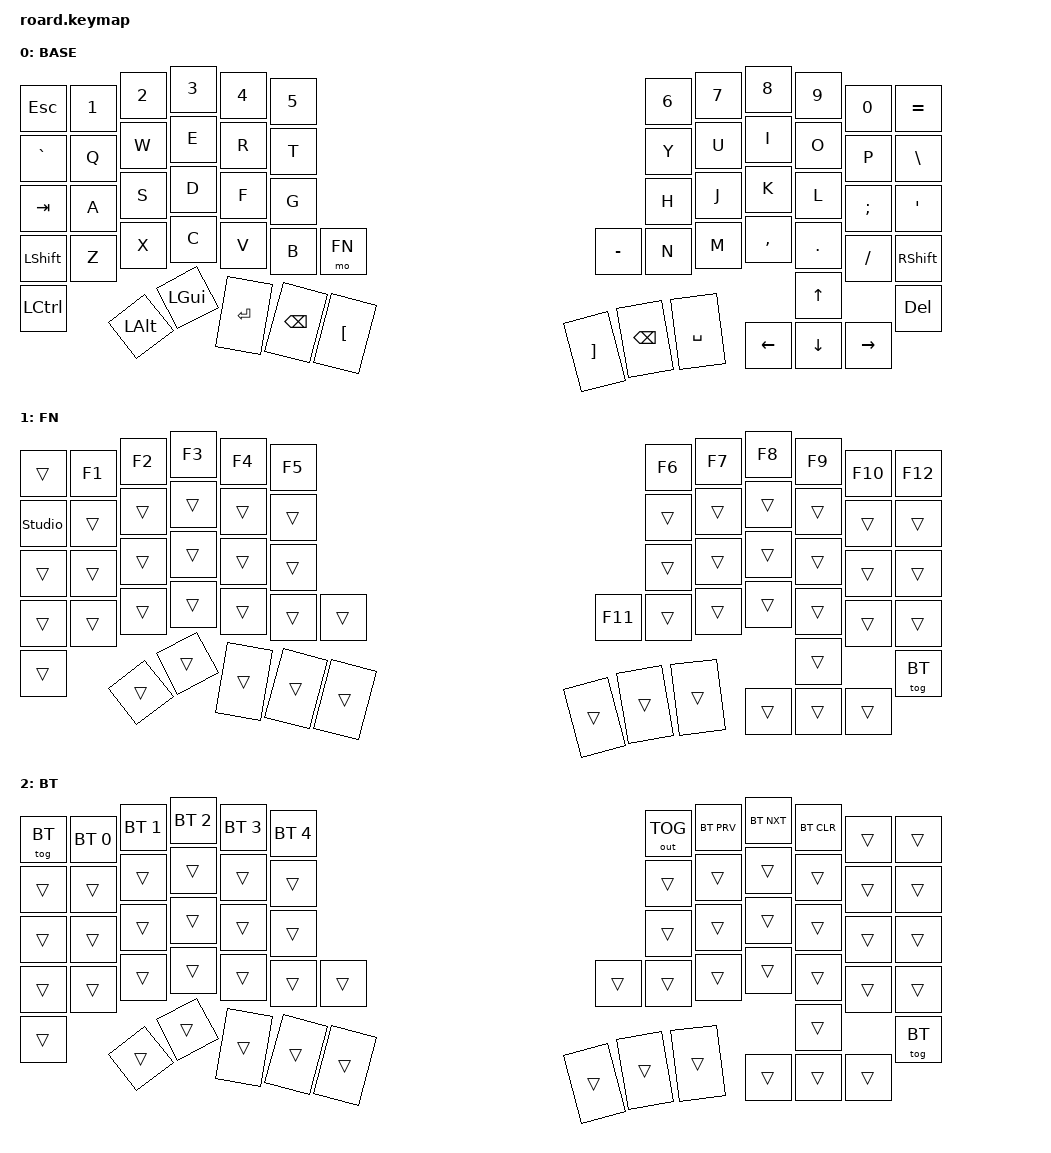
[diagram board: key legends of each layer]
#include <behaviors.dtsi>
#include <dt-bindings/zmk/keys.h>
#include <dt-bindings/zmk/bt.h>
#include <dt-bindings/zmk/outputs.h>

#define BASE 0
#define FN   1
#define BT   2

/ {
    keymap {
        compatible = "zmk,keymap";

        base_layer {
            label = "BASE";
            bindings = <
                &kp ESC   &kp N1 &kp N2    &kp N3   &kp N4  &kp N5                                             &kp N6  &kp N7  &kp N8     &kp N9   &kp N0     &kp EQUAL

                &kp GRAVE &kp Q  &kp W     &kp E    &kp R   &kp T                                              &kp Y   &kp U   &kp I      &kp O    &kp P      &kp BSLH

                &kp TAB   &kp A  &kp S     &kp D    &kp F   &kp G                                              &kp H   &kp J   &kp K      &kp L    &kp SEMI   &kp QUOT

                &kp LSHFT &kp Z  &kp X     &kp C    &kp V   &kp B    &mo FN                         &kp MINUS  &kp N   &kp M   &kp COMMA  &kp DOT  &kp SLASH  &kp RSHFT

                &kp LCTRL        &kp LALT  &kp LGUI &kp RET &kp BSPC &kp LBKT                                                             &kp UP              &kp DEL

                                                                                                 &kp RBKT  &kp BSPC  &kp SPACE  &kp LEFT  &kp DOWN  &kp RIGHT
            >;
        };

        fn_layer {
            label = "FN";
            bindings = <
                &trans    &kp F1 &kp F2    &kp F3   &kp F4  &kp F5                                             &kp F6  &kp F7  &kp F8     &kp F9   &kp F10    &kp F12

                &studio_unlock    &trans &trans    &trans   &trans  &trans                                            &trans  &trans  &trans     &trans   &trans    &trans

                &trans    &trans &trans    &trans   &trans  &trans                                            &trans  &trans  &trans     &trans   &trans    &trans

                &trans    &trans &trans    &trans   &trans  &trans  &trans                         &kp F11    &trans  &trans  &trans     &trans   &trans    &trans

                &trans           &trans    &trans   &trans  &trans  &trans                                                             &trans             &tog BT

                                                                                           &trans    &trans    &trans    &trans    &trans    &trans
            >;
        };

        bt_layer {
            label = "BT";
            bindings = <
                &tog BT        &bt BT_SEL 0 &bt BT_SEL 1 &bt BT_SEL 2 &bt BT_SEL 3 &bt BT_SEL 4                            &out OUT_TOG &bt BT_PRV &bt BT_NXT &bt BT_CLR &trans &trans

                &trans         &trans       &trans       &trans       &trans       &trans                                   &trans       &trans      &trans      &trans      &trans &trans

                &trans         &trans       &trans       &trans       &trans       &trans                                   &trans       &trans      &trans      &trans      &trans &trans

                &trans         &trans       &trans       &trans       &trans       &trans  &trans                         &trans      &trans      &trans      &trans      &trans &trans     &trans

                &trans                &trans       &trans       &trans       &trans       &trans                                                       &trans             &tog BT

                                                                                           &trans       &trans       &trans       &trans       &trans       &trans
            >;
        };
    };
};
